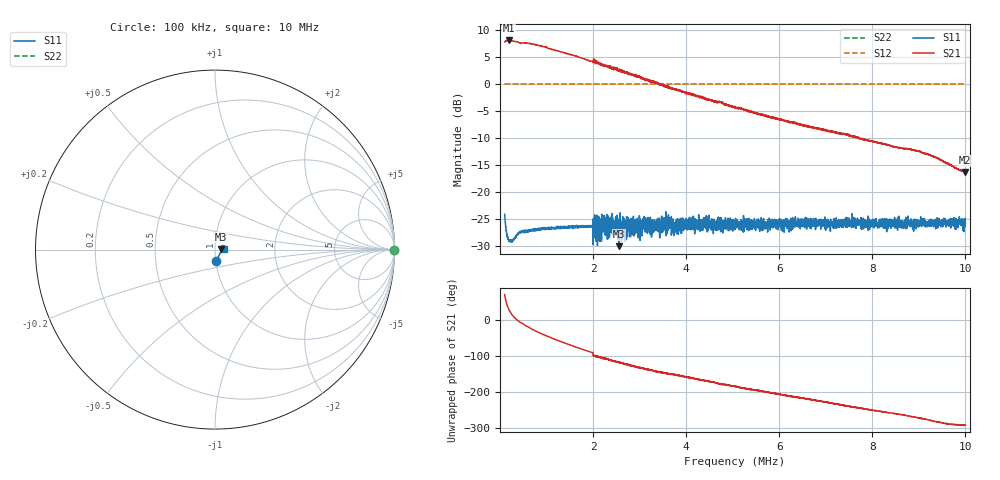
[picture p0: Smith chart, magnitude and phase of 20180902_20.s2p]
! Anritsu VNA Master:  Model: MS2026C/19
! SN:  1815009
! /card0/usr/20180902_20.s2p
! Existing Calibration Information:
! TYPE:  Current Settings,  Active Cal Settings
! TIME:  09/02/2018 02:25:38 PM,  09/02/2018 11:58:48 AM
! INTERNAL TEMP:  46.8 C,  48.8 C
! # POINTS:  4001,  4001
! START FREQ:  100.000 kHz,  100.000 kHz
! STOP FREQ:  10.000 MHz,  10.000 MHz
! SOURCE POWER:  Low,  Low
! IFBW:  500 Hz,  500 Hz
! AVG FACTOR:  5 ,  1
! REF PLANE 1:  0 mm,  0 mm
! REF PLANE 2:  0 mm,  0 mm
! CAL TYPE:  1P2P S11,S21,  1P2P S11,S21
! CAL METHOD:  SOLT,  SOLT
! CAL LINE TYPE:  Coax,  Coax
! DUT PORT 1:  N-Conn(M),  N-Conn(M)
! DUT PORT 2:  N-Conn(M),  N-Conn(M)
! CAL STATUS:  OK: Accuracy High,  --
# GHZ S RI R 50.0
! FREQ.GHZ  S11RE  S11IM  S21RE  S21IM  S12RE  S12IM  S22RE  S22IM
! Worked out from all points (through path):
!   4001 points, 100 kHz to 10 MHz, reference 50 ohm
!   highest |S21| = 8.08 dB at 184.2 kHz (marker M1); lowest = -16.4 dB at 9.988 MHz (marker M2)
!   group delay of S21, straight-line fit = 78.1 ns
!   lowest |S11| = -30.1 dB at 2.563 MHz (marker M3), VSWR 1.06, Z = 53.2 + j0.339 ohm
!   |S11| at or under -10 dB: start of sweep to end of sweep
!   |S22| runs from 0.0 to 0.0 dB; largest |S21 - S12| = 2.3
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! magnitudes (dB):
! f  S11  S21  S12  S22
! 100 kHz  -24.1  7.8  0.0  0.0
! 184.2 kHz  -28.8  8.1  0.0  0.0
! 248.5 kHz  -29.1  8.0  0.0  0.0
! 429.2 kHz  -27.5  7.6  0.0  0.0
! 674.2 kHz  -27.1  7.5  0.0  0.0
! 1.751 MHz  -26.4  4.8  0.0  0.0
! 2.053 MHz  -24.7  4.0  0.0  0.0
! 2.134 MHz  -27.2  3.9  0.0  0.0
! 2.382 MHz  -26.3  3.0  0.0  0.0
! 2.563 MHz  -30.1  2.5  0.0  0.0
! 2.793 MHz  -26.6  1.8  0.0  0.0
! 3.008 MHz  -25.5  1.2  0.0  0.0
! 3.402 MHz  -26.5  0.1  0.0  0.0
! 3.515 MHz  -27.1  -0.4  0.0  0.0
! 3.798 MHz  -26.1  -1.1  0.0  0.0
! 3.954 MHz  -26.2  -1.4  0.0  0.0
! 5.05 MHz  -25.3  -4.4  0.0  0.0
! 6.701 MHz  -26.1  -7.9  0.0  0.0
! 8.352 MHz  -25.6  -11.3  0.0  0.0
! 9.218 MHz  -26.3  -13.1  0.0  0.0
! 9.988 MHz  -26.6  -16.4  0.0  0.0
! 10 MHz  -25.8  -16.3  0.0  0.0
